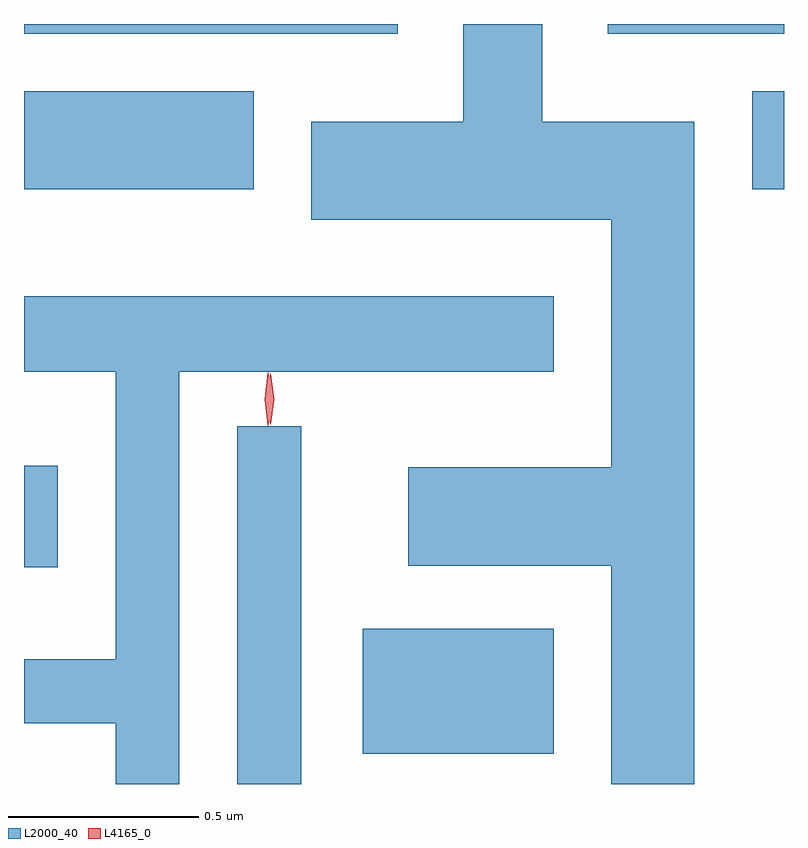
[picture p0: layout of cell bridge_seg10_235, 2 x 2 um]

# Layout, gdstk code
import gdstk
lib = gdstk.Library(unit=1e-6, precision=1e-09)
def R(c, l, rs):  # rectangles x0, y0, x1, y1
    for r in rs: c.add(gdstk.rectangle(r[:2], r[2:], *l))
def P(c, l, *ps):  # polygons
    for p in ps: c.add(gdstk.Polygon(p, *l))
L2000_40 = (2000, 40)
L4165_0 = (4165, 0)

bridge_seg10_235 = lib.new_cell('bridge_seg10_235')
R(bridge_seg10_235, L2000_40, [(1735.121,2141.231,1735.289,2142.173), (1735.451,2141.311,1735.954,2141.639), (1734.56,2141.801,1734.649,2142.069), (1734.56,2142.796,1735.164,2143.054), (1736.476,2142.796,1736.56,2143.054), (1734.56,2143.206,1735.544,2143.231), (1736.096,2143.206,1736.56,2143.231)])
P(bridge_seg10_235, L2000_40, [(1736.324,2142.974),(1735.924,2142.974),(1735.924,2143.231),(1735.716,2143.231),(1735.716,2142.974),(1735.316,2142.974),(1735.316,2142.716),(1736.106,2142.716),(1736.106,2142.064),(1735.571,2142.064),(1735.571,2141.806),(1736.106,2141.806),(1736.106,2141.231),(1736.324,2141.231)],
  [(1734.969,2142.316),(1735.954,2142.316),(1735.954,2142.514),(1734.56,2142.514),(1734.56,2142.316),(1734.801,2142.316),(1734.801,2141.559),(1734.56,2141.559),(1734.56,2141.391),(1734.801,2141.391),(1734.801,2141.231),(1734.969,2141.231)])
P(bridge_seg10_235, L4165_0, [(1735.203,2142.174),(1735.202,2142.175),(1735.193,2142.244),(1735.202,2142.313),(1735.203,2142.314),(1735.203,2142.313),(1735.213,2142.244),(1735.203,2142.175)],
  [(1735.208,2142.178),(1735.199,2142.244),(1735.208,2142.311),(1735.208,2142.311),(1735.209,2142.311),(1735.218,2142.244),(1735.209,2142.178),(1735.209,2142.178)])

lib.write_gds('bridge_seg10_235.gds')
